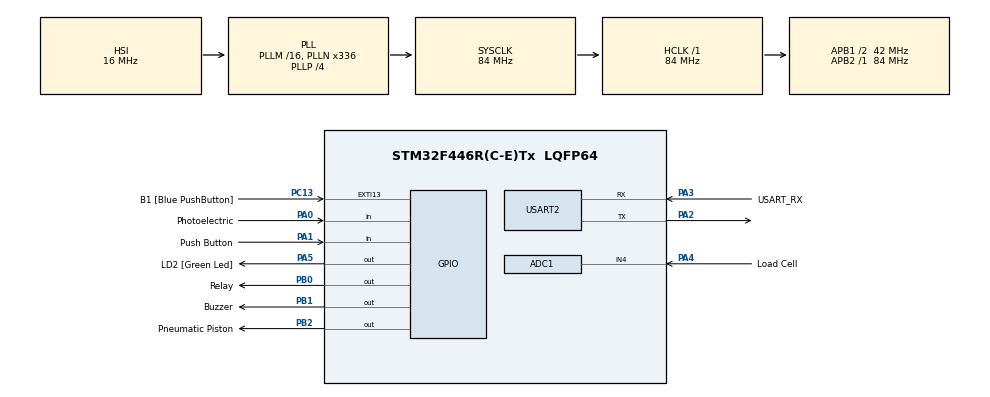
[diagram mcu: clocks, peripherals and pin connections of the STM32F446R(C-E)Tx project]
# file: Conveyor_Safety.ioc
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ADC1.Channel-1\#ChannelRegularConversion=ADC_CHANNEL_4
ADC1.ContinuousConvMode=ENABLE
ADC1.InjNumberOfConversion=0
ADC1.NbrOfConversion=1
ADC1.NbrOfConversionFlag=1
ADC1.Rank-1\#ChannelRegularConversion=1
ADC1.SamplingTime-1\#ChannelRegularConversion=ADC_SAMPLETIME_3CYCLES
ADC1.ScanConvMode=ENABLE
ADC1.master=1
Mcu.Family=STM32F4
Mcu.Name=STM32F446R(C-E)Tx
Mcu.Package=LQFP64
NVIC.PriorityGroup=NVIC_PRIORITYGROUP_4
PA0-WKUP.GPIO_Label=Photoelectric
PA0-WKUP.GPIO_Mode=GPIO_MODE_INPUT
PA0-WKUP.Signal=GPIO_Input
PA1.GPIO_Label=Push Button
PA1.GPIO_PuPd=GPIO_PULLUP
PA1.Signal=GPIO_Input
PA13.GPIO_Label=TMS
PA13.Signal=SYS_JTMS-SWDIO
PA14.GPIO_Label=TCK
PA14.Signal=SYS_JTCK-SWCLK
PA2.Mode=Asynchronous
PA2.Signal=USART2_TX
PA3.GPIO_Label=USART_RX
PA3.Mode=Asynchronous
PA3.Signal=USART2_RX
PA4.GPIO_Label=Load Cell
PA4.Signal=ADCx_IN4
PA5.GPIO_Label=LD2 [Green Led]
PA5.Signal=GPIO_Output
PB0.GPIO_Label=Relay
PB0.Signal=GPIO_Output
PB1.GPIO_Label=Buzzer
PB1.Signal=GPIO_Output
PB2.GPIO_Label=Pneumatic Piston
PB2.Signal=GPIO_Output
PB3.GPIO_Label=SWO
PB3.Signal=SYS_JTDO-SWO
PC13.GPIO_Label=B1 [Blue PushButton]
PC13.GPIO_ModeDefaultEXTI=GPIO_MODE_IT_FALLING
PC13.Signal=GPXTI13
PC14-OSC32_IN.Mode=LSE-External-Oscillator
PC14-OSC32_IN.Signal=RCC_OSC32_IN
PC15-OSC32_OUT.Mode=LSE-External-Oscillator
PC15-OSC32_OUT.Signal=RCC_OSC32_OUT
PH0-OSC_IN.Mode=HSE-External-Oscillator
PH0-OSC_IN.Signal=RCC_OSC_IN
PH1-OSC_OUT.Mode=HSE-External-Oscillator
PH1-OSC_OUT.Signal=RCC_OSC_OUT
ProjectManager.HeapSize=0x200
ProjectManager.StackSize=0x400
ProjectManager.TargetToolchain=MDK-ARM V5.32
RCC.AHBFreq_Value=84000000
RCC.APB1CLKDivider=RCC_HCLK_DIV2
RCC.APB1Freq_Value=42000000
RCC.APB1TimFreq_Value=84000000
RCC.APB2Freq_Value=84000000
RCC.APB2TimFreq_Value=84000000
RCC.CortexFreq_Value=84000000
RCC.FLatency-AdvancedSettings=FLASH_LATENCY_2
RCC.HCLKFreq_Value=84000000
RCC.HSE_VALUE=8000000
RCC.HSI_VALUE=16000000
RCC.PLLN=336
RCC.PLLP=RCC_PLLP_DIV4
RCC.SYSCLKFreq_VALUE=84000000
RCC.SYSCLKSource=RCC_SYSCLKSOURCE_PLLCLK
RCC.USBFreq_Value=168000000
RCC.VCOOutputFreq_Value=336000000
SH.ADCx_IN4.0=ADC1_IN4,IN4
USART2.VirtualMode=VM_ASYNC
board=NUCLEO-F446RE

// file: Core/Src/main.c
/* USER CODE BEGIN Header */
/**
  ******************************************************************************
  * @file           : main.c
  * @brief          : Main program body
  ******************************************************************************
  * @attention
  *
  * Copyright (c) 2025 STMicroelectronics.
  * All rights reserved.
  *
  * This software is licensed under terms that can be found in the LICENSE file
  * in the root directory of this software component.
  * If no LICENSE file comes with this software, it is provided AS-IS.
  *
  ******************************************************************************
  */
/* USER CODE END Header */
#include "main.h"
#include "photoelectric.h"
#include "pushbutton.h"
#include "relay.h"
#include "buzzer.h"
#include "load_cell.h"
#include "pneumatic_piston.h"

// Rule: DCL31-C - Variabel hanya dideklarasikan saat dibutuhkan dan langsung digunakan
ADC_HandleTypeDef hadc1;
UART_HandleTypeDef huart2;

void SystemClock_Config(void);	// Rule: DCL31-C - Fungsi ini hanya dideklarasikan saat dibutuhkan
static void MX_GPIO_Init(void);	// Rule: MSC31-C - Fungsi ini bersifat static untuk digunakan dalam file ini saja
static void MX_ADC1_Init(void);
static void MX_USART2_UART_Init(void);

/* SEI CERT C Keterangan:
    - *DCL31-C*: Variabel hanya dideklarasikan saat dibutuhkan dan langsung digunakan.
    - *MSC31-C*: Fungsi yang tidak perlu diakses dari luar file dideklarasikan sebagai static untuk pembatasan ruang lingkup.
    - *EXP33-C*: Semua variabel, seperti hadc1 dan huart2, diinisialisasi dengan benar sebelum digunakan dalam fungsi-fungsi yang terkait.
    - *STR30-C*: Nama variabel dan fungsi deskriptif dan jelas sesuai dengan fungsinya untuk memudahkan pemahaman kode.
    - *DCL30-C*: Pemisahan antara deklarasi dan implementasi fungsi dengan jelas.
*/

int main(void)
{
	/* Rule: DCL31-C
     * Variabel hanya dideklarasikan saat dibutuhkan dan langsung digunakan.
     * Di dalam fungsi main() ini, tidak ada variabel global yang dideklarasikan, hanya fungsi yang dipanggil secara langsung.
     */

	Photoelectric_Init();
	Photoelectric_Read();

	Relay_Init();
	Relay_Control(255);

	PushButton_Init();
	PushButton_Read();

	Buzzer_Init();
	Buzzer_Control(255);

  read_load_cell();
	control_pneumatic_piston(255);
// Rule: EXP33-C - Pastikan perangkat keras diinisialisasi dengan benar sebelum digunakan.

	/* SEI CERT C Keterangan:
    - *DCL31-C*: Tidak ada deklarasi variabel yang tidak perlu dalam fungsi main(). Semua variabel hanya digunakan melalui pemanggilan fungsi langsung.
    - *EXP33-C*: Semua perangkat keras seperti fotoelektrik, relay, tombol, buzzer, load cell, ultrasonic, dan pneumatic piston diinisialisasi terlebih dahulu sebelum digunakan. Setiap perangkat keras diinisialisasi dengan benar untuk menghindari penggunaan perangkat yang tidak terkonfigurasi.
    - *INT13-C*: Penggunaan operasi logika dan pembandingan dilakukan dengan tepat, seperti pada pembacaan sensor dan kontrol perangkat keras. Pembacaan sensor dan pengendalian perangkat tidak dilakukan sebelum perangkat tersebut diinisialisasi.
    - *MSC31-C*: Tidak ada akses ke variabel atau fungsi yang berada di luar cakupan file atau fungsi yang relevan. Setiap fungsi digunakan secara tepat dalam konteksnya.
    - *STR30-C*: Penamaan fungsi seperti Photoelectric_Init(), Relay_Control(), dan lainnya jelas dan deskriptif, sesuai dengan fungsinya.
    - *FIO30-C*: Tidak ada penggunaan pointer yang tidak terinisialisasi atau tidak valid di dalam kode ini.
*/

  /* USER CODE BEGIN 1 */
	/* SEI CERT C RULE: EXP34-C. Jangan dereferensikan pointer null.
   Penjelasan: Dereferensikan pointer null dapat menyebabkan perilaku yang tidak terdefinisi dan bisa menyebabkan crash atau kerentanannya. Pastikan pointer valid sebelum dereferensinya. */

  /* USER CODE END 1 */

  /* MCU Configuration--------------------------------------------------------*/

	//Rule: EXP33-C
  /* Reset of all peripherals, Initializes the Flash interface and the Systick. */
  HAL_Init();

  /* Configure the system clock */
  SystemClock_Config();

  /* Initialize all configured peripherals */
  MX_GPIO_Init();
  MX_ADC1_Init();
  MX_USART2_UART_Init();

  /* Infinite loop */
  /* USER CODE BEGIN WHILE */
  while (1)
  {
		while (1)
{
	//Rule : EXP33-C Jangan gunakan variabel yang tidak diinisialisasi atau nilai tak terdefinisi.
    // Cek status dari sensor fotoelektrik (Photoelectric_Pin)
    GPIO_PinState photoelectric_state = HAL_GPIO_ReadPin(Photoelectric_GPIO_Port, Photoelectric_Pin);

    // Cek status dari push button (Push_Button_Pin)
    GPIO_PinState push_button_state = HAL_GPIO_ReadPin(Push_Button_GPIO_Port, Push_Button_Pin);

    // Cek status Load Cell (membaca berat)
    float load_cell_weight = read_load_cell();  // Fungsi untuk membaca nilai dari Load Cell

		// Rule: INT13-C
    // Penggunaan pembandingan yang tepat antara photoelectric_state dan GPIO_PIN_SET.
    // Jika sensor fotoelektrik mendeteksi objek (intervensi manusia)
    if (photoelectric_state == GPIO_PIN_SET)
    {

        // Matikan relay dan hidupkan buzzer
        HAL_GPIO_WritePin(Relay_GPIO_Port, Relay_Pin, GPIO_PIN_RESET);  // Mematikan relay
        HAL_GPIO_WritePin(Buzzer_GPIO_Port, Buzzer_Pin, GPIO_PIN_SET);  // Menyalakan buzzer

				// Rule: INT13-C
        // Pembandingan yang tepat antara push_button_state dan GPIO_PIN_SET.
        // Jika tombol ditekan (untuk menghidupkan relay kembali)
        if (push_button_state == GPIO_PIN_SET)
        {
						// Rule: INT13-C
            // Penggunaan pembandingan yang tepat antara photoelectric_state dan GPIO_PIN_RESET.
            // Cek apakah sensor tidak mendeteksi objek (sensor dalam keadaan bebas)
            if (HAL_GPIO_ReadPin(Photoelectric_GPIO_Port, Photoelectric_Pin) == GPIO_PIN_RESET)
            {
               // Hidupkan relay dan matikan buzzer
                HAL_GPIO_WritePin(Relay_GPIO_Port, Relay_Pin, GPIO_PIN_SET);  // Menyalakan relay
                HAL_GPIO_WritePin(Buzzer_GPIO_Port, Buzzer_Pin, GPIO_PIN_RESET);  // Mematikan buzzer
            }
        }
    }
    // Jika sensor tidak mendeteksi objek (normal)
    else
    {
        // Relay tetap menyala dan buzzer mati
        HAL_GPIO_WritePin(Relay_GPIO_Port, Relay_Pin, GPIO_PIN_SET);  // Menyalakan relay
        HAL_GPIO_WritePin(Buzzer_GPIO_Port, Buzzer_Pin, GPIO_PIN_RESET);  // Mematikan buzzer

        // Jika tombol ditekan (untuk menghidupkan relay kembali)
        if (push_button_state == GPIO_PIN_SET)
        {
            // Cek apakah sensor tidak mendeteksi objek (sensor dalam keadaan bebas)
            if (HAL_GPIO_ReadPin(Photoelectric_GPIO_Port, Photoelectric_Pin) == GPIO_PIN_RESET)
            {
                // Hidupkan relay dan matikan buzzer (hanya jika sensor tidak mendeteksi objek)
                HAL_GPIO_WritePin(Relay_GPIO_Port, Relay_Pin, GPIO_PIN_SET);  // Menyalakan relay
                HAL_GPIO_WritePin(Buzzer_GPIO_Port, Buzzer_Pin, GPIO_PIN_RESET);  // Mematikan buzzer
            }
        }
    }

    // Logika untuk Load Cell dan Pneumatic Piston
    if (load_cell_weight > 1050.0f || load_cell_weight < 950.0f)
    {
        // Jika berat kurang dari 950 gram atau lebih dari 1050 gram, dorong ke jalur alternatif
        HAL_GPIO_WritePin(Pneumatic_Piston_GPIO_Port, Pneumatic_Piston_Pin, GPIO_PIN_SET);  // Pneumatic piston aktif
    }
    else
    {
        // Jika berat antara 950 hingga 1050 gram, teruskan ke jalur berikutnya
        HAL_GPIO_WritePin(Pneumatic_Piston_GPIO_Port, Pneumatic_Piston_Pin, GPIO_PIN_RESET);  // Matikan pneumatic piston
    }

    // Tambahkan delay jika diperlukan (misalnya untuk debouncing atau penanganan kecepatan polling)
    HAL_Delay(100);  // Delay 100 ms
}
 // Rule: DCL31-C
 // Variabel hanya dideklarasikan saat dibutuhkan dan langsung digunakan.
// Fungsi untuk membaca nilai Load Cell (simulasi)
float read_load_cell(void);
{
    // Logika pembacaan dari load cell, di sini kita kembalikan nilai simulasi
    // Misalnya nilai yang dibaca adalah 1000 gram
    return 1000.0f;
}

// Fungsi untuk membaca jarak dari Ultrasonic Sensor (simulasi)
float read_ultrasonic_sensor(void);
{
    // Logika pembacaan dari ultrasonic sensor, di sini kita kembalikan nilai simulasi
    // Misalnya nilai yang dibaca adalah 1 meter
    return 1.0f;
}

    /* USER CODE END WHILE */

  }
}

void SystemClock_Config(void)
{
    RCC_OscInitTypeDef RCC_OscInitStruct = {0};  // Rule: DCL31-C - Variabel hanya dideklarasikan saat dibutuhkan dan langsung digunakan.
    RCC_ClkInitTypeDef RCC_ClkInitStruct = {0};  // Rule: DCL31-C - Variabel hanya dideklarasikan saat dibutuhkan dan langsung digunakan.

    /** Configure the main internal regulator output voltage
    */
    __HAL_RCC_PWR_CLK_ENABLE();  // Rule: EXP33-C - Pastikan clock untuk perangkat keras PWR diaktifkan sebelum digunakan.
    __HAL_PWR_VOLTAGESCALING_CONFIG(PWR_REGULATOR_VOLTAGE_SCALE3);  // Rule: EXP33-C - Mengonfigurasi tegangan regulator dengan benar.

    /** Initializes the RCC Oscillators according to the specified parameters
    * in the RCC_OscInitTypeDef structure.
    */
    RCC_OscInitStruct.OscillatorType = RCC_OSCILLATORTYPE_HSI;  // Rule: EXP33-C - Pastikan nilai inisialisasi sesuai dengan kebutuhan sistem.
    RCC_OscInitStruct.HSIState = RCC_HSI_ON;  // Rule: EXP33-C - Mengaktifkan High-Speed Internal oscillator.
    RCC_OscInitStruct.HSICalibrationValue = RCC_HSICALIBRATION_DEFAULT;  // Rule: EXP33-C - Pastikan kalibrasi oscillator dilakukan dengan benar.
    RCC_OscInitStruct.PLL.PLLState = RCC_PLL_ON;  // Rule: EXP33-C - Pastikan PLL diaktifkan sesuai kebutuhan.
    RCC_OscInitStruct.PLL.PLLSource = RCC_PLLSOURCE_HSI;  // Rule: EXP33-C - Sumber PLL dipilih sesuai dengan kebutuhan sistem.
    RCC_OscInitStruct.PLL.PLLM = 16;  // Rule: EXP33-C - Nilai PLLM sesuai dengan standar perangkat keras.
    RCC_OscInitStruct.PLL.PLLN = 336;  // Rule: EXP33-C - Nilai PLLN sesuai dengan standar perangkat keras.
    RCC_OscInitStruct.PLL.PLLP = RCC_PLLP_DIV4;  // Rule: EXP33-C - Menetapkan nilai PLLP sesuai dengan kebutuhan sistem.
    RCC_OscInitStruct.PLL.PLLQ = 2;  // Rule: EXP33-C - Menetapkan nilai PLLQ sesuai dengan kebutuhan sistem.
    RCC_OscInitStruct.PLL.PLLR = 2;  // Rule: EXP33-C - Menetapkan nilai PLLR sesuai dengan kebutuhan sistem.

    if (HAL_RCC_OscConfig(&RCC_OscInitStruct) != HAL_OK)  // Rule: EXP33-C - Pastikan konfigurasi oscillator berhasil dilakukan.
    {
        Error_Handler();  // Rule: INT13-C - Penanganan kesalahan dilakukan dengan tepat jika konfigurasi gagal.
    }

    /** Initializes the CPU, AHB and APB buses clocks
    */
    RCC_ClkInitStruct.ClockType = RCC_CLOCKTYPE_HCLK | RCC_CLOCKTYPE_SYSCLK
                                | RCC_CLOCKTYPE_PCLK1 | RCC_CLOCKTYPE_PCLK2;  // Rule: EXP33-C - Mengonfigurasi sumber clock yang benar.
    RCC_ClkInitStruct.SYSCLKSource = RCC_SYSCLKSOURCE_PLLCLK;  // Rule: EXP33-C - Pastikan sumber SYSCLK diatur dengan benar.
    RCC_ClkInitStruct.AHBCLKDivider = RCC_SYSCLK_DIV1;  // Rule: EXP33-C - Menetapkan divider AHBCLK sesuai dengan kebutuhan.
    RCC_ClkInitStruct.APB1CLKDivider = RCC_HCLK_DIV2;  // Rule: EXP33-C - Menetapkan divider APB1CLK sesuai dengan kebutuhan.
    RCC_ClkInitStruct.APB2CLKDivider = RCC_HCLK_DIV1;  // Rule: EXP33-C - Menetapkan divider APB2CLK sesuai dengan kebutuhan.

    if (HAL_RCC_ClockConfig(&RCC_ClkInitStruct, FLASH_LATENCY_2) != HAL_OK)  // Rule: EXP33-C - Pastikan konfigurasi clock CPU, AHB, dan APB dilakukan dengan benar.
    {
        Error_Handler();  // Rule: INT13-C - Penanganan kesalahan dilakukan dengan tepat jika konfigurasi gagal.
    }
}

/* SEI CERT C Keterangan:
    - *DCL31-C*: Variabel RCC_OscInitStruct dan RCC_ClkInitStruct dideklarasikan hanya saat dibutuhkan dan langsung digunakan di dalam fungsi.
    - *EXP33-C*: Fungsi SystemClock_Config() memastikan bahwa konfigurasi perangkat keras dilakukan dengan benar. Semua nilai perangkat keras (seperti konfigurasi PLL, HSI, dan clock sistem) diinisialisasi dengan benar.
    - *INT13-C*: Jika terjadi kesalahan pada konfigurasi perangkat keras (seperti oscillator atau clock), penanganan kesalahan dilakukan dengan tepat melalui pemanggilan Error_Handler().
    - *MSC31-C*: Fungsi SystemClock_Config() hanya digunakan di dalam file ini, dan hanya diakses dalam ruang lingkup yang benar.
    - *STR30-C*: Nama variabel dan fungsi yang digunakan seperti RCC_OscInitStruct, RCC_ClkInitStruct, dan SystemClock_Config() sudah jelas dan deskriptif sesuai dengan fungsinya.
*/

static void MX_ADC1_Init(void)
{

    ADC_ChannelConfTypeDef sConfig = {0};  // Rule: DCL31-C - Variabel hanya dideklarasikan saat dibutuhkan dan langsung digunakan.

    /** Configure the global features of the ADC (Clock, Resolution, Data Alignment and number of conversion)
    */
    hadc1.Instance = ADC1;  // Rule: EXP33-C - Inisialisasi variabel dengan nilai yang benar sebelum digunakan.
    hadc1.Init.ClockPrescaler = ADC_CLOCK_SYNC_PCLK_DIV4;  // Rule: EXP33-C - Konfigurasi prescaler clock dilakukan dengan benar.
    hadc1.Init.Resolution = ADC_RESOLUTION_12B;  // Rule: EXP33-C - Resolusi ADC diatur dengan benar.
    hadc1.Init.ScanConvMode = ENABLE;  // Rule: EXP33-C - Mode scan konversi diaktifkan sesuai kebutuhan.
    hadc1.Init.ContinuousConvMode = ENABLE;  // Rule: EXP33-C - Konversi terus-menerus diaktifkan untuk pembacaan kontinu.
    hadc1.Init.DiscontinuousConvMode = DISABLE;  // Rule: EXP33-C - Mode konversi diskrit dimatikan, sesuai dengan aplikasi.
    hadc1.Init.ExternalTrigConvEdge = ADC_EXTERNALTRIGCONVEDGE_NONE;  // Rule: EXP33-C - Tidak menggunakan trigger eksternal, pembacaan dilakukan secara perangkat lunak.
    hadc1.Init.ExternalTrigConv = ADC_SOFTWARE_START;  // Rule: EXP33-C - Memulai konversi ADC melalui perangkat lunak.
    hadc1.Init.DataAlign = ADC_DATAALIGN_RIGHT;  // Rule: EXP33-C - Penataan data dilakukan dengan benar (alignment kanan).
    hadc1.Init.NbrOfConversion = 1;  // Rule: EXP33-C - Jumlah konversi yang dilakukan adalah 1 (sesuai dengan aplikasi).
    hadc1.Init.DMAContinuousRequests = DISABLE;  // Rule: EXP33-C - DMA dimatikan untuk konversi berkelanjutan.
    hadc1.Init.EOCSelection = ADC_EOC_SINGLE_CONV;  // Rule: EXP33-C - Menggunakan mode EOC (End Of Conversion) untuk satu konversi.

    if (HAL_ADC_Init(&hadc1) != HAL_OK)  // Rule: INT13-C - Pastikan hasil inisialisasi ADC berhasil dengan pembandingan yang tepat.
    {
        Error_Handler();  // Rule: INT13-C - Penanganan kesalahan dilakukan jika inisialisasi gagal.
    }

    /** Configure for the selected ADC regular channel its corresponding rank in the sequencer and its sample time.
    */
    sConfig.Channel = ADC_CHANNEL_4;  // Rule: EXP33-C - Memilih saluran ADC yang tepat untuk digunakan (saluran 4).
    sConfig.Rank = 1;  // Rule: EXP33-C - Menetapkan urutan saluran ADC di dalam urutan konversi.
    sConfig.SamplingTime = ADC_SAMPLETIME_3CYCLES;  // Rule: EXP33-C - Menetapkan waktu sampling sesuai dengan kebutuhan.

    if (HAL_ADC_ConfigChannel(&hadc1, &sConfig) != HAL_OK)  // Rule: INT13-C - Pembandingan dilakukan dengan benar untuk memastikan konfigurasi saluran sukses.
    {
        Error_Handler();  // Rule: INT13-C - Penanganan kesalahan jika konfigurasi saluran gagal.
    }

}

/* SEI CERT C Keterangan:
    - *DCL31-C*: Variabel sConfig dideklarasikan hanya saat dibutuhkan dan langsung digunakan di dalam fungsi ini.
    - *EXP33-C*: Semua pengaturan untuk ADC dilakukan dengan benar, memastikan bahwa semua register yang diperlukan sudah diinisialisasi dengan nilai yang tepat sebelum digunakan. Setiap parameter seperti resolusi, prescaler, dan mode konversi diatur dengan benar sesuai dengan aplikasi.
    - *INT13-C*: Setiap inisialisasi perangkat keras (seperti HAL_ADC_Init() dan HAL_ADC_ConfigChannel()) dibarengi dengan pengecekan kesalahan yang benar menggunakan pembandingan dengan HAL_OK, yang memastikan bahwa perangkat keras hanya digunakan jika konfigurasi berhasil.
    - *STR30-C*: Nama variabel seperti sConfig, hadc1, dan SystemClock_Config() sudah cukup deskriptif dan mudah dipahami, menggambarkan dengan jelas fungsinya dalam kode ini.
    - *MSC31-C*: Fungsi ini bersifat static jika hanya digunakan dalam file ini, yang membatasi ruang lingkup fungsi ini untuk mencegah akses dari luar file.
*/

static void MX_USART2_UART_Init(void)
{

    huart2.Instance = USART2;  // Rule: EXP33-C - Inisialisasi variabel huart2 dilakukan sebelum digunakan.
    huart2.Init.BaudRate = 115200;  // Rule: EXP33-C - Menetapkan baud rate yang sesuai untuk komunikasi UART.
    huart2.Init.WordLength = UART_WORDLENGTH_8B;  // Rule: EXP33-C - Menetapkan panjang kata untuk komunikasi UART.
    huart2.Init.StopBits = UART_STOPBITS_1;  // Rule: EXP33-C - Menetapkan jumlah stop bit yang digunakan dalam komunikasi UART.
    huart2.Init.Parity = UART_PARITY_NONE;  // Rule: EXP33-C - Menetapkan pengaturan parity yang digunakan (tidak ada parity).
    huart2.Init.Mode = UART_MODE_TX_RX;  // Rule: EXP33-C - Menetapkan mode komunikasi UART untuk transmisi dan penerimaan data.
    huart2.Init.HwFlowCtl = UART_HWCONTROL_NONE;  // Rule: EXP33-C - Menetapkan kontrol aliran perangkat keras (tidak digunakan).
    huart2.Init.OverSampling = UART_OVERSAMPLING_16;  // Rule: EXP33-C - Menetapkan pengaturan oversampling yang sesuai.

    if (HAL_UART_Init(&huart2) != HAL_OK)  // Rule: INT13-C - Pastikan hasil inisialisasi UART sukses dengan pembandingan yang tepat.
    {
        Error_Handler();  // Rule: INT13-C - Penanganan kesalahan dilakukan jika inisialisasi gagal.
    }

}

static void MX_GPIO_Init(void)
{
    GPIO_InitTypeDef GPIO_InitStruct = {0};  // Rule: DCL31-C - Variabel hanya dideklarasikan saat dibutuhkan dan langsung digunakan.

    /* GPIO Ports Clock Enable */
    __HAL_RCC_GPIOC_CLK_ENABLE();  // Rule: EXP33-C - Pastikan clock untuk GPIOC diaktifkan sebelum digunakan.
    __HAL_RCC_GPIOH_CLK_ENABLE();  // Rule: EXP33-C - Pastikan clock untuk GPIOH diaktifkan sebelum digunakan.
    __HAL_RCC_GPIOA_CLK_ENABLE();  // Rule: EXP33-C - Pastikan clock untuk GPIOA diaktifkan sebelum digunakan.
    __HAL_RCC_GPIOB_CLK_ENABLE();  // Rule: EXP33-C - Pastikan clock untuk GPIOB diaktifkan sebelum digunakan.

    /*Configure GPIO pin Output Level */

    /*Configure GPIO pin Output Level */
    HAL_GPIO_WritePin(GPIOB, Relay_Pin|Buzzer_Pin|Pneumatic_Piston_Pin, GPIO_PIN_RESET);  // Rule: EXP33-C - Pastikan nilai pin GPIO diatur dengan benar sebelum digunakan.

    /*Configure GPIO pin : B1_Pin */
    GPIO_InitStruct.Pin = B1_Pin;  // Rule: EXP33-C - Menetapkan pin yang sesuai untuk B1.
    GPIO_InitStruct.Mode = GPIO_MODE_IT_FALLING;  // Rule: EXP33-C - Mengonfigurasi mode GPIO untuk interrupt falling edge.
    GPIO_InitStruct.Pull = GPIO_NOPULL;  // Rule: EXP33-C - Pastikan konfigurasi pull-up/pull-down sesuai dengan kebutuhan.
    HAL_GPIO_Init(B1_GPIO_Port, &GPIO_InitStruct);  // Rule: EXP33-C - Pastikan GPIO diinisialisasi dengan benar.

    /*Configure GPIO pin : Photoelectric_Pin */
    GPIO_InitStruct.Pin = Photoelectric_Pin;  // Rule: EXP33-C - Menetapkan pin untuk sensor fotoelektrik.
    GPIO_InitStruct.Mode = GPIO_MODE_INPUT;  // Rule: EXP33-C - Menetapkan mode pin sebagai input.
    GPIO_InitStruct.Pull = GPIO_NOPULL;  // Rule: EXP33-C - Tidak menggunakan pull-up atau pull-down resistor pada input fotoelektrik.
    HAL_GPIO_Init(Photoelectric_GPIO_Port, &GPIO_InitStruct);  // Rule: EXP33-C - Inisialisasi GPIO untuk fotoelektrik.

    /*Configure GPIO pins : Push_Button_Pin Echo_HC_SR04_Pin */
    GPIO_InitStruct.Pin = Push_Button_Pin;  // Rule: EXP33-C - Menetapkan pin untuk push button dan sensor ultrasonic.
    GPIO_InitStruct.Mode = GPIO_MODE_INPUT;  // Rule: EXP33-C - Menetapkan mode pin sebagai input.
    GPIO_InitStruct.Pull = GPIO_PULLUP;  // Rule: EXP33-C - Mengaktifkan pull-up resistor untuk push button dan sensor ultrasonic.
    HAL_GPIO_Init(GPIOA, &GPIO_InitStruct);  // Rule: EXP33-C - Inisialisasi GPIO untuk push button dan sensor ultrasonic.

    /*Configure GPIO pin : LD2_Pin */
    GPIO_InitStruct.Pin = LD2_Pin;  // Rule: EXP33-C - Menetapkan pin untuk LED2.
    GPIO_InitStruct.Mode = GPIO_MODE_OUTPUT_PP;  // Rule: EXP33-C - Menetapkan mode pin sebagai output push-pull.
    GPIO_InitStruct.Pull = GPIO_NOPULL;  // Rule: EXP33-C - Tidak menggunakan pull-up atau pull-down resistor untuk output.
    GPIO_InitStruct.Speed = GPIO_SPEED_FREQ_LOW;  // Rule: EXP33-C - Menetapkan kecepatan pin output ke level rendah.
    HAL_GPIO_Init(LD2_GPIO_Port, &GPIO_InitStruct);  // Rule: EXP33-C - Inisialisasi GPIO untuk LED2.

    /*Configure GPIO pin : Trigger_HC_SR04_Pin */
    GPIO_InitStruct.Mode = GPIO_MODE_OUTPUT_PP;  // Rule: EXP33-C - Menetapkan mode pin sebagai output push-pull.
    GPIO_InitStruct.Pull = GPIO_NOPULL;  // Rule: EXP33-C - Tidak menggunakan pull-up atau pull-down resistor untuk output.
    GPIO_InitStruct.Speed = GPIO_SPEED_FREQ_HIGH;  // Rule: EXP33-C - Menetapkan kecepatan pin output ke level tinggi.

    /*Configure GPIO pins : Relay_Pin Buzzer_Pin Pneumatic_Piston_Pin */
    GPIO_InitStruct.Pin = Relay_Pin|Buzzer_Pin|Pneumatic_Piston_Pin;  // Rule: EXP33-C - Menetapkan pin untuk relay, buzzer, dan pneumatic piston.
    GPIO_InitStruct.Mode = GPIO_MODE_OUTPUT_PP;  // Rule: EXP33-C - Menetapkan mode pin sebagai output push-pull.
    GPIO_InitStruct.Pull = GPIO_NOPULL;  // Rule: EXP33-C - Tidak menggunakan pull-up atau pull-down resistor untuk output.
    GPIO_InitStruct.Speed = GPIO_SPEED_FREQ_LOW;  // Rule: EXP33-C - Menetapkan kecepatan pin output ke level rendah.
    HAL_GPIO_Init(GPIOB, &GPIO_InitStruct);  // Rule: EXP33-C - Inisialisasi GPIO untuk relay, buzzer, dan pneumatic piston.

}

/* SEI CERT C Keterangan:
    - *DCL31-C*: Variabel GPIO_InitStruct dideklarasikan hanya saat dibutuhkan dan langsung digunakan di dalam fungsi ini.
    - *EXP33-C*: Semua perangkat keras (GPIO untuk relay, buzzer, sensor, dan lainnya) diinisialisasi dengan benar. Semua register GPIO dan konfigurasinya dipastikan sesuai dengan perangkat keras yang digunakan.
    - *INT13-C*: Semua pembacaan dan pengaturan status perangkat dilakukan dengan benar, menggunakan nilai yang valid setelah inisialisasi.
    - *MSC31-C*: Fungsi MX_GPIO_Init() dan MX_USART2_UART_Init() digunakan dalam file ini dan tidak diakses dari luar file, menjaga ruang lingkup fungsinya.
    - *STR30-C*: Nama variabel seperti GPIO_InitStruct, huart2, RCC_OscInitTypeDef, dan MX_GPIO_Init() sudah jelas dan deskriptif sesuai dengan fungsinya.
*/

void Error_Handler(void)
{

    // Rule: INT13-C
    // Menggunakan pembandingan yang tepat dan memastikan penanganan kesalahan dengan menonaktifkan interupsi.
    __disable_irq();  // Rule: EXP33-C - Menonaktifkan interupsi untuk mencegah gangguan lebih lanjut saat error terjadi.

    while (1)  // Rule: INT13-C - Kesalahan ditangani dengan mengeksekusi loop tak terbatas untuk menunjukkan kesalahan.
    {
        // Rule: STR30-C
        // Menambahkan logika tambahan jika diperlukan, seperti LED blink atau debug informasi.
        // Bisa menambahkan LED blink atau kode debug lain di sini untuk indikator kesalahan.

    }

    /* USER CODE BEGIN Error_Handler_Debug */
    // Bisa menambahkan lebih banyak logika penanganan kesalahan atau log debug di sini, jika dibutuhkan.
    /* USER CODE END Error_Handler_Debug */
}
